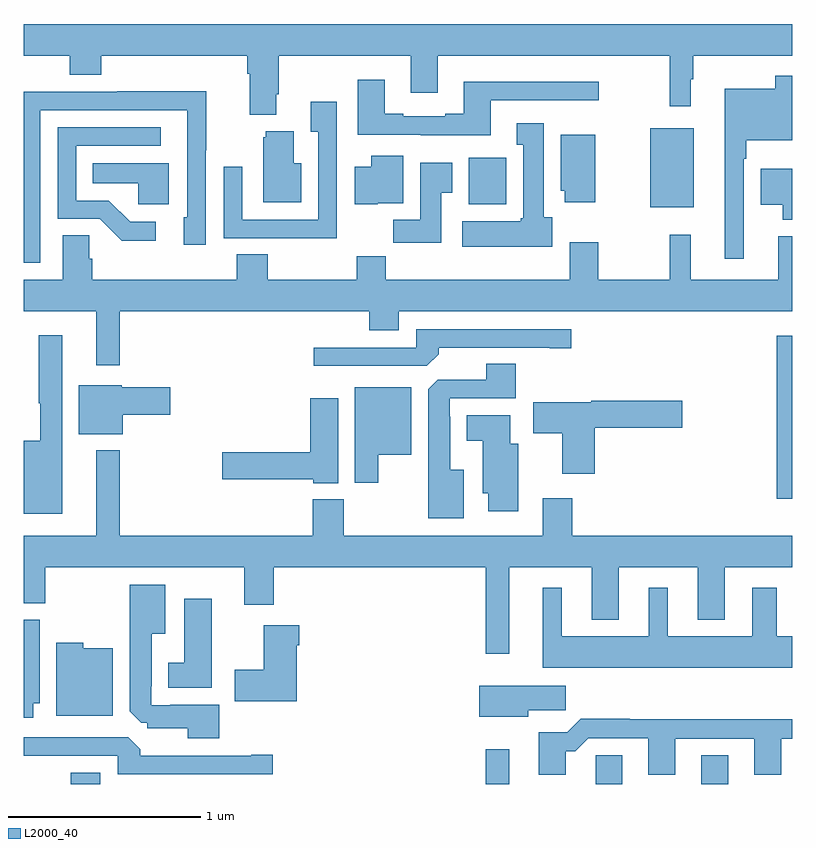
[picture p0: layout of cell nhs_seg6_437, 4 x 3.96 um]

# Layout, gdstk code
import gdstk
lib = gdstk.Library(unit=1e-6, precision=1e-09)
def R(c, l, rs):  # rectangles x0, y0, x1, y1
    for r in rs: c.add(gdstk.rectangle(r[:2], r[2:], *l))
def P(c, l, *ps):  # polygons
    for p in ps: c.add(gdstk.Polygon(p, *l))
L2000_40 = (2000, 40)

nhs_seg6_437 = lib.new_cell('nhs_seg6_437')
R(nhs_seg6_437, L2000_40, [(135.245,987.5,135.397,987.559), (137.406,987.5,137.527,987.682), (137.976,987.5,138.115,987.65), (138.527,987.5,138.667,987.65), (138.919,988.986,139,989.833), (138.26,990.503,138.487,990.913), (137.315,990.518,137.512,990.76)])
P(nhs_seg6_437, L2000_40, [(136.315,991.09),(136.328,991.09),(136.328,991.292),(137.015,991.292),(137.015,991.098),(137.155,991.098),(137.155,991.292),(138.363,991.292),(138.363,991.029),(138.472,991.029),(138.472,991.169),(138.484,991.169),(138.484,991.292),(139,991.292),(139,991.456),(135,991.456),(135,991.292),(135.239,991.292),(135.239,991.193),(135.404,991.193),(135.404,991.292),(136.163,991.292),(136.163,991.196),(136.175,991.196),(136.175,990.983),(136.315,990.983)],
  [(138.747,990.755),(138.76,990.755),(138.76,990.851),(139,990.851),(139,991.186),(138.912,991.186),(138.912,991.12),(138.65,991.12),(138.65,990.234),(138.747,990.234)],
  [(137.431,991.059),(137.992,991.059),(137.992,991.156),(137.291,991.156),(137.291,990.988),(137.195,990.988),(137.195,990.975),(136.975,990.975),(136.975,990.988),(136.879,990.988),(136.879,991.165),(136.739,991.165),(136.739,990.879),(137.067,990.879),(137.067,990.878),(137.431,990.878)],
  [(135.087,991.008),(135.851,991.008),(135.851,990.754),(135.852,990.754),(135.852,990.45),(135.833,990.45),(135.833,990.306),(135.948,990.306),(135.948,990.799),(135.951,990.799),(135.951,991.106),(135.487,991.106),(135.487,991.104),(135,991.104),(135,990.213),(135.087,990.213)],
  [(136.629,991.051),(136.493,991.051),(136.493,990.895),(136.533,990.895),(136.533,990.438),(136.137,990.438),(136.137,990.712),(136.041,990.712),(136.041,990.342),(136.357,990.342),(136.357,990.341),(136.629,990.341)],
  [(137.752,990.45),(137.707,990.45),(137.707,990.94),(137.567,990.94),(137.567,990.827),(137.6,990.827),(137.6,990.444),(137.587,990.444),(137.587,990.43),(137.283,990.43),(137.283,990.296),(137.752,990.296)],
  [(135.688,990.426),(135.553,990.426),(135.442,990.537),(135.273,990.537),(135.273,990.822),(135.712,990.822),(135.712,990.918),(135.177,990.918),(135.177,990.441),(135.396,990.441),(135.509,990.329),(135.688,990.329)],
  [(136.444,990.73),(136.405,990.73),(136.405,990.898),(136.259,990.898),(136.259,990.867),(136.247,990.867),(136.247,990.527),(136.444,990.527)],
  [(137.974,990.88),(137.795,990.88),(137.795,990.588),(137.816,990.588),(137.816,990.528),(137.974,990.528)],
  [(136.842,990.524),(136.975,990.524),(136.975,990.769),(136.808,990.769),(136.808,990.712),(136.724,990.712),(136.724,990.518),(136.842,990.518)],
  [(137.173,990.577),(137.23,990.577),(137.23,990.733),(137.063,990.733),(137.063,990.436),(136.924,990.436),(136.924,990.318),(137.173,990.318)],
  [(135.754,990.73),(135.358,990.73),(135.358,990.626),(135.597,990.626),(135.597,990.518),(135.754,990.518)],
  [(139,990.703),(138.836,990.703),(138.836,990.515),(138.95,990.515),(138.95,990.437),(139,990.437)],
  [(136.799,989.861),(136.951,989.861),(136.951,989.96),(139,989.96),(139,990.352),(138.926,990.352),(138.926,990.124),(138.473,990.124),(138.473,990.358),(138.363,990.358),(138.363,990.124),(137.991,990.124),(137.991,990.319),(137.843,990.319),(137.843,990.124),(136.883,990.124),(136.883,990.248),(136.732,990.248),(136.732,990.124),(136.269,990.124),(136.269,990.257),(136.109,990.257),(136.109,990.124),(135.356,990.124),(135.356,990.233),(135.342,990.233),(135.342,990.356),(135.203,990.356),(135.203,990.124),(135,990.124),(135,989.96),(135.377,989.96),(135.377,989.679),(135.499,989.679),(135.499,989.96),(136.799,989.96)],
  [(137.159,989.738),(137.159,989.772),(137.738,989.772),(137.738,989.767),(137.851,989.767),(137.851,989.868),(137.043,989.868),(137.043,989.772),(136.509,989.772),(136.509,989.676),(137.097,989.676)],
  [(135.199,989.836),(135.078,989.836),(135.078,989.483),(135.085,989.483),(135.085,989.287),(135,989.287),(135,988.907),(135.199,988.907)],
  [(137.29,989.137),(137.221,989.137),(137.221,989.411),(137.217,989.411),(137.217,989.508),(137.561,989.508),(137.561,989.687),(137.408,989.687),(137.408,989.604),(137.154,989.604),(137.105,989.555),(137.105,988.883),(137.29,988.883)],
  [(135.514,989.423),(135.763,989.423),(135.763,989.565),(135.51,989.565),(135.51,989.575),(135.287,989.575),(135.287,989.321),(135.514,989.321)],
  [(136.846,989.213),(137.017,989.213),(137.017,989.566),(136.724,989.566),(136.724,989.067),(136.846,989.067)],
  [(136.636,989.509),(136.49,989.509),(136.49,989.228),(136.032,989.228),(136.032,989.086),(136.506,989.086),(136.506,989.066),(136.636,989.066)],
  [(137.972,989.354),(138.427,989.354),(138.427,989.496),(137.955,989.496),(137.955,989.488),(137.652,989.488),(137.652,989.326),(137.804,989.326),(137.804,989.115),(137.972,989.115)],
  [(137.575,989.272),(137.533,989.272),(137.533,989.419),(137.306,989.419),(137.306,989.288),(137.39,989.288),(137.39,989.013),(137.417,989.013),(137.417,988.92),(137.575,988.92)],
  [(137.527,988.628),(137.957,988.628),(137.957,988.355),(138.097,988.355),(138.097,988.628),(138.509,988.628),(138.509,988.355),(138.649,988.355),(138.649,988.628),(139,988.628),(139,988.792),(137.855,988.792),(137.855,988.987),(137.702,988.987),(137.702,988.792),(136.665,988.792),(136.665,988.981),(136.505,988.981),(136.505,988.792),(135.499,988.792),(135.499,989.236),(135.377,989.236),(135.377,988.792),(135,988.792),(135,988.441),(135.111,988.441),(135.111,988.628),(136.148,988.628),(136.148,988.434),(136.301,988.434),(136.301,988.628),(137.406,988.628),(137.406,988.179),(137.527,988.179)],
  [(136.018,987.913),(135.763,987.913),(135.763,987.909),(135.663,987.909),(135.663,988.009),(135.667,988.009),(135.667,988.283),(135.736,988.283),(135.736,988.537),(135.551,988.537),(135.551,987.879),(135.611,987.819),(135.642,987.819),(135.642,987.791),(135.854,987.791),(135.854,987.737),(136.018,987.737)],
  [(139,988.27),(138.919,988.27),(138.919,988.522),(138.791,988.522),(138.791,988.27),(138.352,988.27),(138.352,988.522),(138.254,988.522),(138.254,988.27),(137.8,988.27),(137.8,988.522),(137.702,988.522),(137.702,988.106),(139,988.106)],
  [(135.979,988.465),(135.836,988.465),(135.836,988.132),(135.752,988.132),(135.752,988.001),(135.979,988.001)],
  [(135.049,987.92),(135.082,987.92),(135.082,988.356),(135,988.356),(135,987.846),(135.049,987.846)],
  [(136.42,988.223),(136.433,988.223),(136.433,988.327),(136.25,988.327),(136.25,988.095),(136.098,988.095),(136.098,987.932),(136.42,987.932)],
  [(135.463,988.207),(135.309,988.207),(135.309,988.234),(135.17,988.234),(135.17,987.854),(135.463,987.854)],
  [(137.626,987.883),(137.821,987.883),(137.821,988.012),(137.372,988.012),(137.372,987.851),(137.626,987.851)],
  [(137.821,987.671),(137.87,987.671),(137.937,987.738),(138.251,987.738),(138.251,987.549),(138.391,987.549),(138.391,987.735),(138.803,987.735),(138.803,987.549),(138.943,987.549),(138.943,987.735),(139,987.735),(139,987.836),(138.155,987.836),(138.155,987.839),(137.9,987.839),(137.83,987.769),(137.681,987.769),(137.681,987.549),(137.821,987.549)],
  [(136.297,987.653),(136.184,987.653),(136.184,987.648),(135.605,987.648),(135.605,987.682),(135.543,987.744),(135,987.744),(135,987.648),(135.489,987.648),(135.489,987.552),(136.297,987.552)])

lib.write_gds('nhs_seg6_437.gds')
